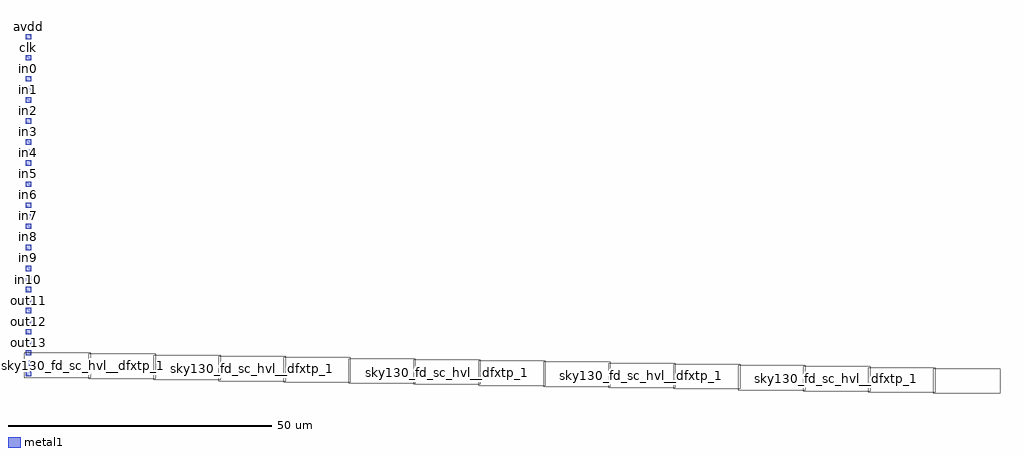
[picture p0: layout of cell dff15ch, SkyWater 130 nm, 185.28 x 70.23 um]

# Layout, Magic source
magic
tech sky130A
magscale 1 2
<< metal1 >>
rect 0 0 200 200
rect 0 -400 200 -200
rect 0 -800 200 -600
rect 0 -1200 200 -1000
rect 0 -1600 200 -1400
rect 0 -2000 200 -1800
rect 0 -2400 200 -2200
rect 0 -2800 200 -2600
rect 0 -3200 200 -3000
rect 0 -3600 200 -3400
rect 0 -4000 200 -3800
rect 0 -4400 200 -4200
rect 0 -4800 200 -4600
rect 0 -5200 200 -5000
rect 0 -5600 200 -5400
rect 0 -6000 200 -5800
rect 0 -6400 200 -6200
rect 0 -6800 200 -6600
rect 0 -7200 200 -7000
rect 0 -7600 200 -7400
rect 0 -8000 200 -7800
rect 0 -8400 200 -8200
rect 0 -8800 200 -8600
rect 0 -9200 200 -9000
rect 0 -9600 200 -9400
rect 0 -10000 200 -9800
rect 0 -10400 200 -10200
rect 0 -10800 200 -10600
rect 0 -11200 200 -11000
rect 0 -11600 200 -11400
rect 0 -12000 200 -11800
rect 0 -12400 200 -12200
rect 0 -12800 200 -12600
rect 0 -13200 200 -13000
use sky130_fd_sc_hvl__dfxtp_1  x1 $PDKPATH/libs.ref/sky130_fd_sc_hvl/mag
transform 1 0 0 0 1 -13200
box -66 -43 2466 897
use sky130_fd_sc_hvl__dfxtp_1  x2
transform 1 0 2466 0 1 -13243
box -66 -43 2466 897
use sky130_fd_sc_hvl__dfxtp_1  x3
transform 1 0 4932 0 1 -13286
box -66 -43 2466 897
use sky130_fd_sc_hvl__dfxtp_1  x4
transform 1 0 7398 0 1 -13329
box -66 -43 2466 897
use sky130_fd_sc_hvl__dfxtp_1  x5
transform 1 0 9864 0 1 -13372
box -66 -43 2466 897
use sky130_fd_sc_hvl__dfxtp_1  x6
transform 1 0 12330 0 1 -13415
box -66 -43 2466 897
use sky130_fd_sc_hvl__dfxtp_1  x7
transform 1 0 14796 0 1 -13458
box -66 -43 2466 897
use sky130_fd_sc_hvl__dfxtp_1  x8
transform 1 0 17262 0 1 -13501
box -66 -43 2466 897
use sky130_fd_sc_hvl__dfxtp_1  x9
transform 1 0 19728 0 1 -13544
box -66 -43 2466 897
use sky130_fd_sc_hvl__dfxtp_1  x10
transform 1 0 22194 0 1 -13587
box -66 -43 2466 897
use sky130_fd_sc_hvl__dfxtp_1  x11
transform 1 0 24660 0 1 -13630
box -66 -43 2466 897
use sky130_fd_sc_hvl__dfxtp_1  x12
transform 1 0 27126 0 1 -13673
box -66 -43 2466 897
use sky130_fd_sc_hvl__dfxtp_1  x13
transform 1 0 29592 0 1 -13716
box -66 -43 2466 897
use sky130_fd_sc_hvl__dfxtp_1  x14
transform 1 0 32058 0 1 -13759
box -66 -43 2466 897
use sky130_fd_sc_hvl__dfxtp_1  x15
transform 1 0 34524 0 1 -13802
box -66 -43 2466 897
<< labels >>
flabel metal1 0 0 200 200 0 FreeSans 256 0 0 0 avdd
port 0 nsew
flabel metal1 0 -400 200 -200 0 FreeSans 256 0 0 0 dvss
port 1 nsew
flabel metal1 0 -800 200 -600 0 FreeSans 256 0 0 0 clk
port 2 nsew
flabel metal1 0 -1200 200 -1000 0 FreeSans 256 0 0 0 out0
port 3 nsew
flabel metal1 0 -1600 200 -1400 0 FreeSans 256 0 0 0 in0
port 4 nsew
flabel metal1 0 -2000 200 -1800 0 FreeSans 256 0 0 0 out1
port 5 nsew
flabel metal1 0 -2400 200 -2200 0 FreeSans 256 0 0 0 in1
port 6 nsew
flabel metal1 0 -2800 200 -2600 0 FreeSans 256 0 0 0 out2
port 7 nsew
flabel metal1 0 -3200 200 -3000 0 FreeSans 256 0 0 0 in2
port 8 nsew
flabel metal1 0 -3600 200 -3400 0 FreeSans 256 0 0 0 out3
port 9 nsew
flabel metal1 0 -4000 200 -3800 0 FreeSans 256 0 0 0 in3
port 10 nsew
flabel metal1 0 -4400 200 -4200 0 FreeSans 256 0 0 0 out4
port 11 nsew
flabel metal1 0 -4800 200 -4600 0 FreeSans 256 0 0 0 in4
port 12 nsew
flabel metal1 0 -5200 200 -5000 0 FreeSans 256 0 0 0 out5
port 13 nsew
flabel metal1 0 -5600 200 -5400 0 FreeSans 256 0 0 0 in5
port 14 nsew
flabel metal1 0 -6000 200 -5800 0 FreeSans 256 0 0 0 out6
port 15 nsew
flabel metal1 0 -6400 200 -6200 0 FreeSans 256 0 0 0 in6
port 16 nsew
flabel metal1 0 -6800 200 -6600 0 FreeSans 256 0 0 0 out7
port 17 nsew
flabel metal1 0 -7200 200 -7000 0 FreeSans 256 0 0 0 in7
port 18 nsew
flabel metal1 0 -7600 200 -7400 0 FreeSans 256 0 0 0 out8
port 19 nsew
flabel metal1 0 -8000 200 -7800 0 FreeSans 256 0 0 0 in8
port 20 nsew
flabel metal1 0 -8400 200 -8200 0 FreeSans 256 0 0 0 out9
port 21 nsew
flabel metal1 0 -8800 200 -8600 0 FreeSans 256 0 0 0 in9
port 22 nsew
flabel metal1 0 -9200 200 -9000 0 FreeSans 256 0 0 0 out10
port 23 nsew
flabel metal1 0 -9600 200 -9400 0 FreeSans 256 0 0 0 in10
port 24 nsew
flabel metal1 0 -10000 200 -9800 0 FreeSans 256 0 0 0 {}
port 25 nsew
flabel metal1 0 -10400 200 -10200 0 FreeSans 256 0 0 0 out11
port 26 nsew
flabel metal1 0 -10800 200 -10600 0 FreeSans 256 0 0 0 in11
port 27 nsew
flabel metal1 0 -11200 200 -11000 0 FreeSans 256 0 0 0 out12
port 28 nsew
flabel metal1 0 -11600 200 -11400 0 FreeSans 256 0 0 0 in12
port 29 nsew
flabel metal1 0 -12000 200 -11800 0 FreeSans 256 0 0 0 out13
port 30 nsew
flabel metal1 0 -12400 200 -12200 0 FreeSans 256 0 0 0 in13
port 31 nsew
flabel metal1 0 -12800 200 -12600 0 FreeSans 256 0 0 0 out14
port 32 nsew
flabel metal1 0 -13200 200 -13000 0 FreeSans 256 0 0 0 in14
port 33 nsew
<< end >>
